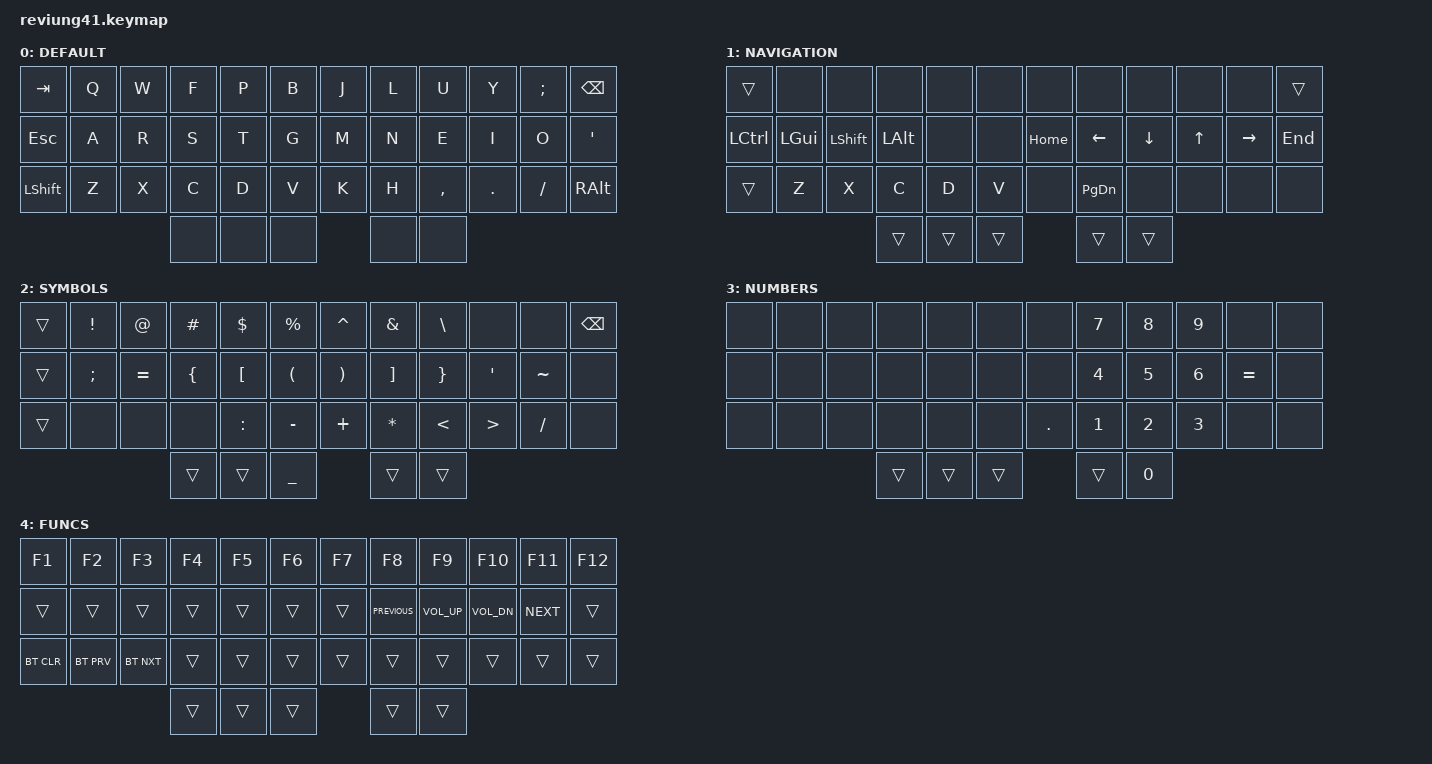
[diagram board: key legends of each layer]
/*
 * Copyright (c) 2020 The ZMK Contributors
 *
 * SPDX-License-Identifier: MIT
 */

#include <behaviors.dtsi>
#include <dt-bindings/zmk/keys.h>
#include <dt-bindings/zmk/bt.h>

#define DEFAULT 0
#define LOWER   1
#define RAISE   2

/ {
    keymap {
        compatible = "zmk,keymap";

        DEFAULT {
            bindings = <
       &kp TAB  &kp Q  &kp W  &kp F  &kp P  &kp B         &kp J  &kp L      &kp U    &kp Y  &kp SEMI       &kp BSPC
       &kp ESC  &kp A  &kp R  &kp S  &kp T  &kp G         &kp M  &kp N      &kp E    &kp I     &kp O        &kp SQT
&kp LEFT_SHIFT  &kp Z  &kp X  &kp C  &kp D  &kp V         &kp K  &kp H  &kp COMMA  &kp DOT  &kp FSLH  &kp RIGHT_ALT
                              &none  &none         &none         &none      &none
            >;

            sensor-bindings;
        };

        NAVIGATION {
            // ------------------------------------------------------------------------------------
            // |    |  !  |  @  |  #  |  $  |  %  |   |  ^  |  &  |  *  |  (  |  )  |      DEL    |
            // |    |  _  |  +  |  {  |  }  | "|" |   | LFT | DWN |  UP | RGT |  `  |       \     |
            // |    | ESC | GUI | ALT | CAPS|  "  |   | HOME| END | PGUP| PGDN| PRSC| SHFT(SPACE) |
            //                       |     |     | RET |     |     |

            bindings = <
   &trans         &none           &none         &none   &none  &none             &none      &none     &none   &none      &none   &trans
&kp LCTRL  &kp LEFT_GUI  &kp LEFT_SHIFT  &kp LEFT_ALT   &none  &none          &kp HOME   &kp LEFT  &kp DOWN  &kp UP  &kp RIGHT  &kp END
   &trans         &kp Z           &kp X         &kp C   &kp D  &kp V             &none  &kp PG_DN     &none   &none      &none    &none
                                               &trans  &trans         &trans               &trans    &trans
            >;

            sensor-bindings;
        };

        SYMBOLS {
            // ----------------------------------------------------------------------------
            // |    |  1  |  2  |  3  |  4  |  5  |   |  6  |  7  |  8  |  9  |  0  | DEL |
            // |    |  -  |  =  |  [  |  ]  |  \  |   | F1  | F2  | F3  | F4  | F5  | F6  |
            // |    | ESC | GUI | ALT | CAPS|  "  |   | F7  | F8  | F9  | F10 | F11 | F12 |
            //                       |     | ADJ | BKSP |    |     |

            bindings = <
&trans  &kp EXCL     &kp AT        &kp HASH        &kp DOLLAR           &kp PERCENT                         &kp CARET           &kp AMPS    &kp BACKSLASH             &none      &none  &kp BACKSPACE
&trans  &kp SEMI  &kp EQUAL  &kp LEFT_BRACE  &kp LEFT_BRACKET  &kp LEFT_PARENTHESIS             &kp RIGHT_PARENTHESIS  &kp RIGHT_BRACKET  &kp RIGHT_BRACE  &kp SINGLE_QUOTE  &kp TILDE          &none
&trans     &none      &none           &none         &kp COLON             &kp MINUS                          &kp PLUS       &kp ASTERISK    &kp LESS_THAN  &kp GREATER_THAN  &kp SLASH          &none
                                     &trans            &trans                        &kp UNDER                                    &trans           &trans
            >;

            sensor-bindings;
        };

        NUMBERS {
            // -----------------------------------------------------------------------------------------
            // | RGB BRI+ | RGB SAT+ | RGB HUE+ | RGB ANI+ |    | RGB TOG |   |  BT1  | BT2 | BT3 | BT4 | BT5 | BT CLR |
            // | RGB BRI- | RGB SAT- | RGB HUE- | RGB ANI- |    |         |   |       |     |     |     |     |        |
            // |          |          |          |          |    |         |   | RESET |     |     |     |     |        |
            //                                              |     |     |     |     |     |

            bindings = <
&none  &none  &none   &none   &none  &none            &none  &kp NUMBER_7  &kp NUMBER_8  &kp NUMBER_9      &none  &none
&none  &none  &none   &none   &none  &none            &none  &kp NUMBER_4  &kp NUMBER_5  &kp NUMBER_6  &kp EQUAL  &none
&none  &none  &none   &none   &none  &none          &kp DOT  &kp NUMBER_1  &kp NUMBER_2  &kp NUMBER_3      &none  &none
                     &trans  &trans         &trans                 &trans  &kp NUMBER_0
            >;

            sensor-bindings;
        };

        FUNCS {
            bindings = <
    &kp F1      &kp F2      &kp F3  &kp F4  &kp F5  &kp F6          &kp F7          &kp F8           &kp F9       &kp F10     &kp F11  &kp F12
    &trans      &trans      &trans  &trans  &trans  &trans          &trans  &kp K_PREVIOUS  &kp K_VOLUME_UP  &kp K_VOL_DN  &kp K_NEXT   &trans
&bt BT_CLR  &bt BT_PRV  &bt BT_NXT  &trans  &trans  &trans          &trans          &trans           &trans        &trans      &trans   &trans
                                    &trans  &trans          &trans                  &trans           &trans
            >;

            sensor-bindings;
        };
    };
};
